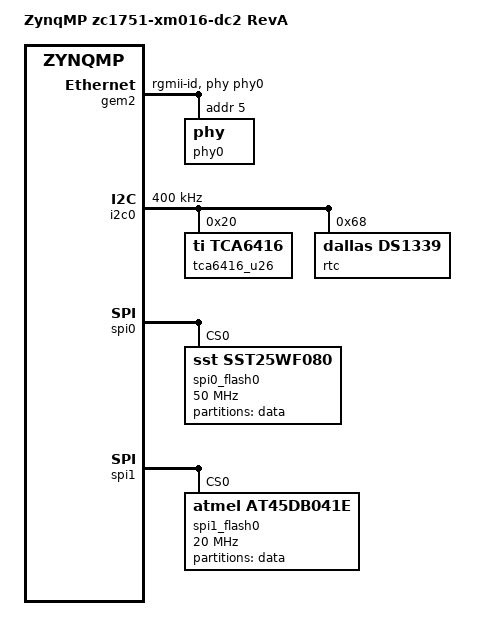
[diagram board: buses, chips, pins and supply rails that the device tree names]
// SPDX-License-Identifier: GPL-2.0+
/*
 * dts file for Xilinx ZynqMP zc1751-xm016-dc2
 *
 * (C) Copyright 2015-2022 Xilinx, Inc.
 * (C) Copyright 2022 Advanced Micro Devices, Inc. All Rights Reserved.
 *
 * Michal Simek <michal.simek@xilinx.com>
 */


/ {
	model = "ZynqMP zc1751-xm016-dc2 RevA";
	compatible = "xlnx,zynqmp-zc1751", "xlnx,zynqmp";

	aliases {
		can0 = &can0;
		can1 = &can1;
		ethernet0 = &gem2;
		i2c0 = &i2c0;
		rtc0 = &rtc;
		serial0 = &uart0;
		serial1 = &uart1;
		spi0 = &spi0;
		spi1 = &spi1;
	};
};


&gem2 {
	status = "okay";
	phy-handle = <&phy0>;
	phy-mode = "rgmii-id";
	phy0: phy@5 {
		reg = <5>;
		ti,rx-internal-delay = <0x8>;
		ti,tx-internal-delay = <0xa>;
		ti,fifo-depth = <0x1>;
	};
};

&i2c0 {
	status = "okay";
	clock-frequency = <400000>;

	tca6416_u26: gpio@20 {
		compatible = "ti,tca6416";
		reg = <0x20>;
		gpio-controller;
		#gpio-cells = <2>;
		/* IRQ not connected */
	};

	rtc@68 {
		compatible = "dallas,ds1339";
		reg = <0x68>;
	};
};

&spi0 {
	status = "okay";
	num-cs = <1>;

	spi0_flash0: flash0@0 {
		#address-cells = <1>;
		#size-cells = <1>;
		compatible = "sst,sst25wf080", "jedec,spi-nor";
		spi-max-frequency = <50000000>;
		reg = <0>;

		partition@0 {
			label = "data";
			reg = <0x0 0x100000>;
		};
	};
};

&spi1 {
	status = "okay";
	num-cs = <1>;

	spi1_flash0: flash0@0 {
		#address-cells = <1>;
		#size-cells = <1>;
		compatible = "atmel,at45db041e", "atmel,at45", "atmel,dataflash";
		spi-max-frequency = <20000000>;
		reg = <0>;

		partition@0 {
			label = "data";
			reg = <0x0 0x84000>;
		};
	};
};

